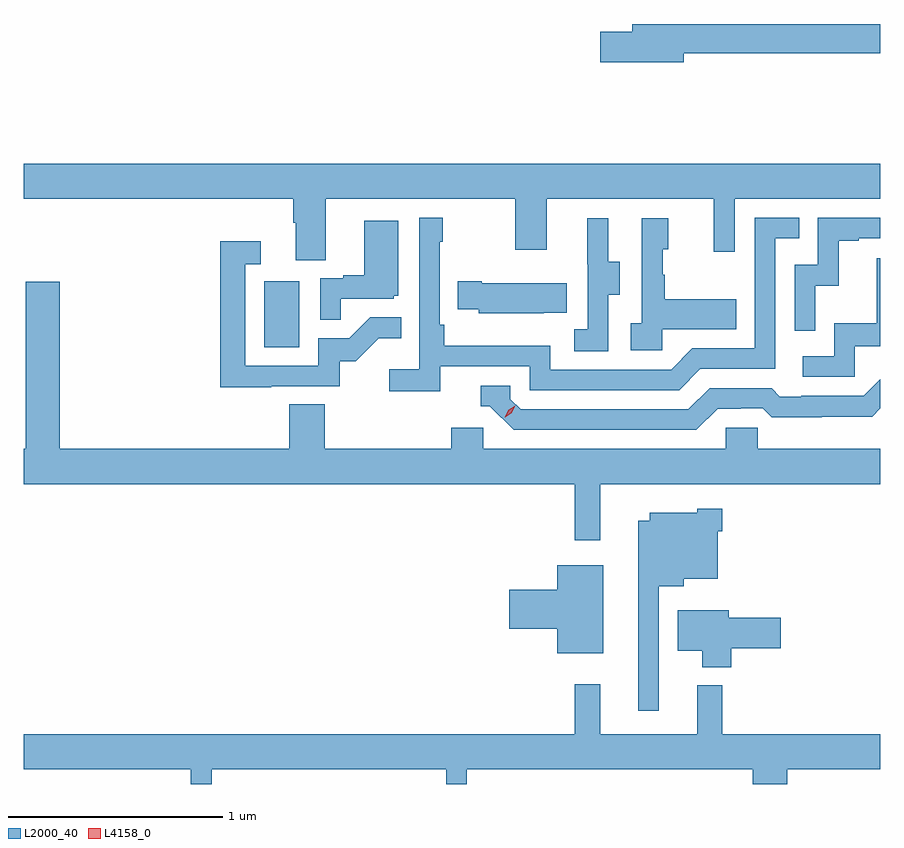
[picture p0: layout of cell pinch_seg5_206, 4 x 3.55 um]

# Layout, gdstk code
import gdstk
lib = gdstk.Library(unit=1e-6, precision=1e-09)
def R(c, l, rs):  # rectangles x0, y0, x1, y1
    for r in rs: c.add(gdstk.rectangle(r[:2], r[2:], *l))
def P(c, l, *ps):  # polygons
    for p in ps: c.add(gdstk.Polygon(p, *l))
L2000_40 = (2000, 40)
L4158_0 = (4158, 0)

pinch_seg5_206 = lib.new_cell('pinch_seg5_206')
R(pinch_seg5_206, L2000_40, [(1012.694,906.684,1012.858,906.991)])
P(pinch_seg5_206, L2000_40, [(1014.652,908.056),(1015.571,908.056),(1015.571,908.192),(1014.413,908.192),(1014.413,908.156),(1014.264,908.156),(1014.264,908.014),(1014.652,908.014)],
  [(1012.981,907.376),(1013.866,907.376),(1013.866,907.137),(1014.013,907.137),(1014.013,907.376),(1014.794,907.376),(1014.794,907.128),(1014.891,907.128),(1014.891,907.376),(1015.571,907.376),(1015.571,907.54),(1011.571,907.54),(1011.571,907.376),(1012.829,907.376),(1012.829,907.264),(1012.841,907.264),(1012.841,907.09),(1012.981,907.09)],
  [(1013.516,906.594),(1013.934,906.594),(1013.934,906.483),(1014.631,906.483),(1014.73,906.582),(1015.08,906.582),(1015.08,907.191),(1015.193,907.191),(1015.193,907.287),(1014.984,907.287),(1014.984,906.678),(1014.693,906.678),(1014.594,906.579),(1014.03,906.579),(1014.03,906.691),(1013.534,906.691),(1013.534,906.787),(1013.514,906.787),(1013.514,907.175),(1013.527,907.175),(1013.527,907.288),(1013.418,907.288),(1013.418,906.58),(1013.277,906.58),(1013.277,906.478),(1013.516,906.478)],
  [(1015.266,906.971),(1015.376,906.971),(1015.376,907.179),(1015.471,907.179),(1015.471,907.191),(1015.571,907.191),(1015.571,907.287),(1015.278,907.287),(1015.278,907.068),(1015.17,907.068),(1015.17,906.759),(1015.266,906.759)],
  [(1014.552,906.767),(1014.899,906.767),(1014.899,906.907),(1014.565,906.907),(1014.565,907.022),(1014.555,907.022),(1014.555,907.14),(1014.58,907.14),(1014.58,907.285),(1014.456,907.285),(1014.456,906.794),(1014.405,906.794),(1014.405,906.669),(1014.552,906.669)],
  [(1014.3,906.928),(1014.355,906.928),(1014.355,907.083),(1014.301,907.083),(1014.301,907.285),(1014.203,907.285),(1014.203,907.071),(1014.204,907.071),(1014.204,906.767),(1014.141,906.767),(1014.141,906.664),(1014.3,906.664)],
  [(1013.051,906.909),(1013.298,906.909),(1013.298,906.924),(1013.32,906.924),(1013.32,907.273),(1013.162,907.273),(1013.162,907.018),(1013.063,907.018),(1013.063,907.005),(1012.956,907.005),(1012.956,906.811),(1013.051,906.811)],
  [(1012.727,906.501),(1013.046,906.501),(1013.046,906.618),(1013.122,906.618),(1013.229,906.725),(1013.333,906.725),(1013.333,906.824),(1013.189,906.824),(1013.091,906.726),(1012.947,906.726),(1012.947,906.597),(1012.605,906.597),(1012.605,907.071),(1012.678,907.071),(1012.678,907.177),(1012.489,907.177),(1012.489,906.496),(1012.727,906.496)],
  [(1015.452,906.687),(1015.571,906.687),(1015.571,907.099),(1015.555,907.099),(1015.555,906.796),(1015.356,906.796),(1015.356,906.642),(1015.209,906.642),(1015.209,906.546),(1015.452,906.546)],
  [(1013.999,906.845),(1014.107,906.845),(1014.107,906.982),(1013.71,906.982),(1013.71,906.99),(1013.599,906.99),(1013.599,906.86),(1013.697,906.86),(1013.697,906.842),(1013.999,906.842)],
  [(1014.264,906.044),(1015.571,906.044),(1015.571,906.208),(1014.999,906.208),(1014.999,906.306),(1014.849,906.306),(1014.849,906.208),(1013.718,906.208),(1013.718,906.306),(1013.567,906.306),(1013.567,906.208),(1012.976,906.208),(1012.976,906.416),(1012.811,906.416),(1012.811,906.208),(1011.74,906.208),(1011.74,906.988),(1011.58,906.988),(1011.58,906.208),(1011.571,906.208),(1011.571,906.044),(1014.145,906.044),(1014.145,905.781),(1014.264,905.781)],
  [(1014.811,906.396),(1014.918,906.396),(1014.918,906.399),(1015.021,906.399),(1015.063,906.357),(1015.296,906.357),(1015.296,906.359),(1015.532,906.359),(1015.571,906.398),(1015.571,906.533),(1015.494,906.456),(1015.201,906.456),(1015.201,906.453),(1015.102,906.453),(1015.063,906.492),(1014.774,906.492),(1014.675,906.393),(1013.892,906.393),(1013.844,906.441),(1013.844,906.504),(1013.705,906.504),(1013.705,906.408),(1013.748,906.408),(1013.859,906.297),(1014.712,906.297)],
  [(1014.537,905.567),(1014.652,905.567),(1014.652,905.603),(1014.811,905.603),(1014.811,905.825),(1014.833,905.825),(1014.833,905.929),(1014.717,905.929),(1014.717,905.911),(1014.494,905.911),(1014.494,905.872),(1014.44,905.872),(1014.44,904.986),(1014.537,904.986)],
  [(1014.277,905.665),(1014.062,905.665),(1014.062,905.552),(1013.838,905.552),(1013.838,905.369),(1014.062,905.369),(1014.062,905.255),(1014.277,905.255)],
  [(1014.875,905.278),(1015.105,905.278),(1015.105,905.42),(1014.862,905.42),(1014.862,905.455),(1014.626,905.455),(1014.626,905.267),(1014.74,905.267),(1014.74,905.189),(1014.875,905.189)],
  [(1014.976,904.644),(1015.136,904.644),(1015.136,904.712),(1015.571,904.712),(1015.571,904.876),(1014.833,904.876),(1014.833,905.104),(1014.716,905.104),(1014.716,904.876),(1014.263,904.876),(1014.263,905.11),(1014.145,905.11),(1014.145,904.876),(1011.571,904.876),(1011.571,904.712),(1012.352,904.712),(1012.352,904.644),(1012.449,904.644),(1012.449,904.712),(1013.544,904.712),(1013.544,904.644),(1013.64,904.644),(1013.64,904.712),(1014.976,904.712)])
P(pinch_seg5_206, L4158_0, [(1013.818,906.357),(1013.818,906.357),(1013.835,906.39),(1013.866,906.409),(1013.866,906.409),(1013.866,906.409),(1013.85,906.376),(1013.819,906.357)])

lib.write_gds('pinch_seg5_206.gds')
